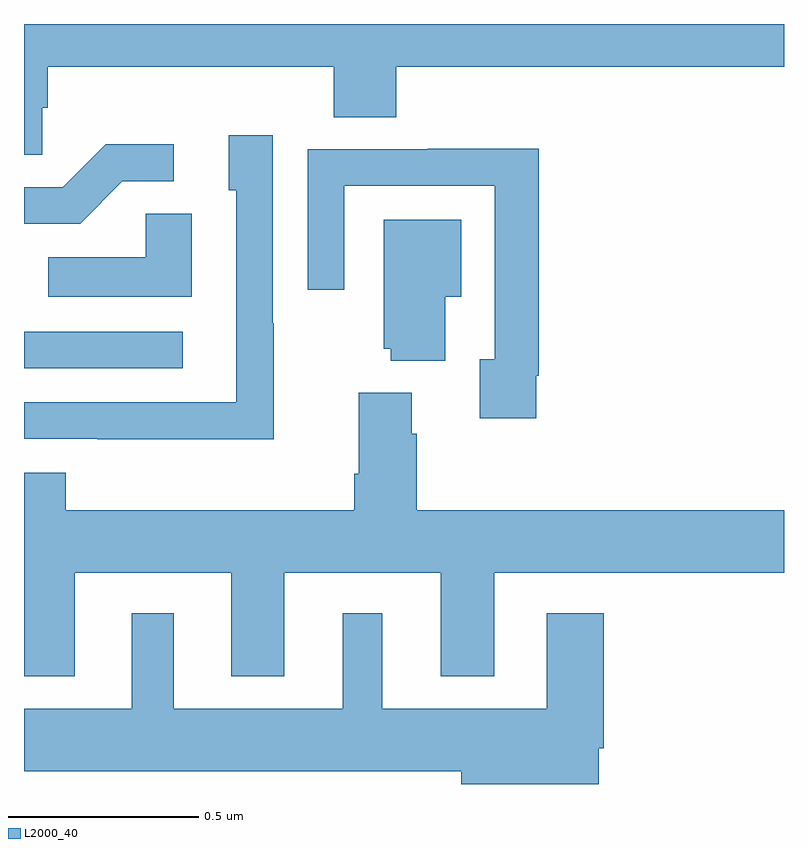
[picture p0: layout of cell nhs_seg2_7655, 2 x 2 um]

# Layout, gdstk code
import gdstk
lib = gdstk.Library(unit=1e-6, precision=1e-09)
def R(c, l, rs):  # rectangles x0, y0, x1, y1
    for r in rs: c.add(gdstk.rectangle(r[:2], r[2:], *l))
def P(c, l, *ps):  # polygons
    for p in ps: c.add(gdstk.Polygon(p, *l))
L2000_40 = (2000, 40)

nhs_seg2_7655 = lib.new_cell('nhs_seg2_7655')
R(nhs_seg2_7655, L2000_40, [(207,594.894,207.418,594.99)])
P(nhs_seg2_7655, L2000_40, [(207.048,595.579),(207.062,595.579),(207.062,595.688),(207.815,595.688),(207.815,595.555),(207.98,595.555),(207.98,595.688),(209,595.688),(209,595.8),(207,595.8),(207,595.456),(207.048,595.456)],
  [(207.657,595.013),(207.654,595.013),(207.654,595.507),(207.539,595.507),(207.539,595.362),(207.558,595.362),(207.558,594.804),(207,594.804),(207,594.708),(207.193,594.708),(207.193,594.707),(207.657,594.707)],
  [(207.259,595.386),(207.394,595.386),(207.394,595.484),(207.215,595.484),(207.102,595.371),(207,595.371),(207,595.275),(207.148,595.275)],
  [(208.348,594.874),(208.355,594.874),(208.355,595.472),(208.063,595.472),(208.063,595.47),(207.747,595.47),(207.747,595.101),(207.843,595.101),(207.843,595.374),(208.239,595.374),(208.239,594.918),(208.199,594.918),(208.199,594.762),(208.348,594.762)],
  [(207.442,595.301),(207.321,595.301),(207.321,595.186),(207.064,595.186),(207.064,595.082),(207.442,595.082)],
  [(208.108,595.082),(208.15,595.082),(208.15,595.285),(207.947,595.285),(207.947,594.945),(207.965,594.945),(207.965,594.914),(208.108,594.914)],
  [(207.133,594.356),(207.545,594.356),(207.545,594.083),(207.685,594.083),(207.685,594.356),(208.097,594.356),(208.097,594.083),(208.237,594.083),(208.237,594.356),(209,594.356),(209,594.52),(208.034,594.52),(208.034,594.722),(208.021,594.722),(208.021,594.829),(207.881,594.829),(207.881,594.616),(207.869,594.616),(207.869,594.52),(207.11,594.52),(207.11,594.619),(207,594.619),(207,594.083),(207.133,594.083)],
  [(208.513,593.894),(208.526,593.894),(208.526,594.25),(208.376,594.25),(208.376,593.998),(207.943,593.998),(207.943,594.25),(207.839,594.25),(207.839,593.998),(207.394,593.998),(207.394,594.25),(207.284,594.25),(207.284,593.998),(207,593.998),(207,593.834),(208.151,593.834),(208.151,593.8),(208.513,593.8)])

lib.write_gds('nhs_seg2_7655.gds')
